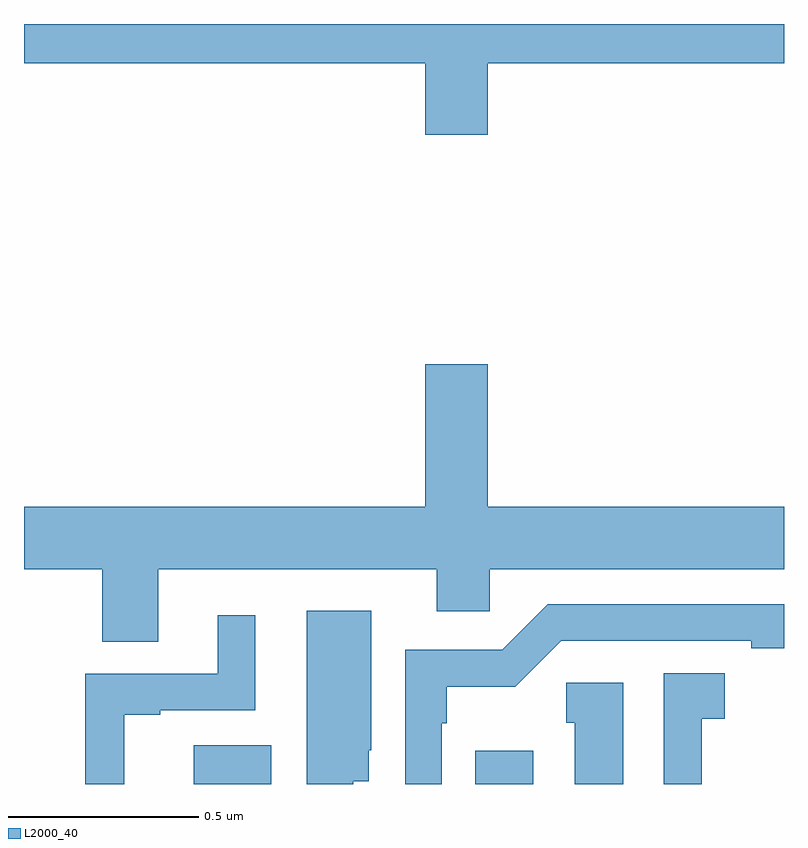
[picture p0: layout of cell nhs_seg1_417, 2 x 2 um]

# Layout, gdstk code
import gdstk
lib = gdstk.Library(unit=1e-6, precision=1e-09)
def R(c, l, rs):  # rectangles x0, y0, x1, y1
    for r in rs: c.add(gdstk.rectangle(r[:2], r[2:], *l))
def P(c, l, *ps):  # polygons
    for p in ps: c.add(gdstk.Polygon(p, *l))
L2000_40 = (2000, 40)

nhs_seg1_417 = lib.new_cell('nhs_seg1_417')
R(nhs_seg1_417, L2000_40, [(116.447,519.199,116.65,519.301), (117.188,519.199,117.34,519.286)])
P(nhs_seg1_417, L2000_40, [(117.22,521.096),(118,521.096),(118,521.199),(116,521.199),(116,521.096),(117.056,521.096),(117.056,520.908),(117.22,520.908)],
  [(116.353,519.764),(117.086,519.764),(117.086,519.654),(117.225,519.654),(117.225,519.764),(118,519.764),(118,519.928),(117.22,519.928),(117.22,520.303),(117.056,520.303),(117.056,519.928),(116,519.928),(116,519.764),(116.206,519.764),(116.206,519.574),(116.353,519.574)],
  [(117.099,519.359),(117.112,519.359),(117.112,519.455),(117.293,519.455),(117.414,519.576),(117.914,519.576),(117.914,519.556),(118,519.556),(118,519.672),(117.378,519.672),(117.258,519.552),(117.003,519.552),(117.003,519.199),(117.099,519.199)],
  [(116.866,519.206),(116.907,519.206),(116.907,519.288),(116.914,519.288),(116.914,519.655),(116.744,519.655),(116.744,519.199),(116.866,519.199)],
  [(116.264,519.381),(116.359,519.381),(116.359,519.393),(116.608,519.393),(116.608,519.643),(116.51,519.643),(116.51,519.489),(116.161,519.489),(116.161,519.199),(116.264,519.199)],
  [(117.783,519.371),(117.844,519.371),(117.844,519.491),(117.684,519.491),(117.684,519.199),(117.783,519.199)],
  [(117.577,519.466),(117.427,519.466),(117.427,519.36),(117.449,519.36),(117.449,519.199),(117.577,519.199)])

lib.write_gds('nhs_seg1_417.gds')
